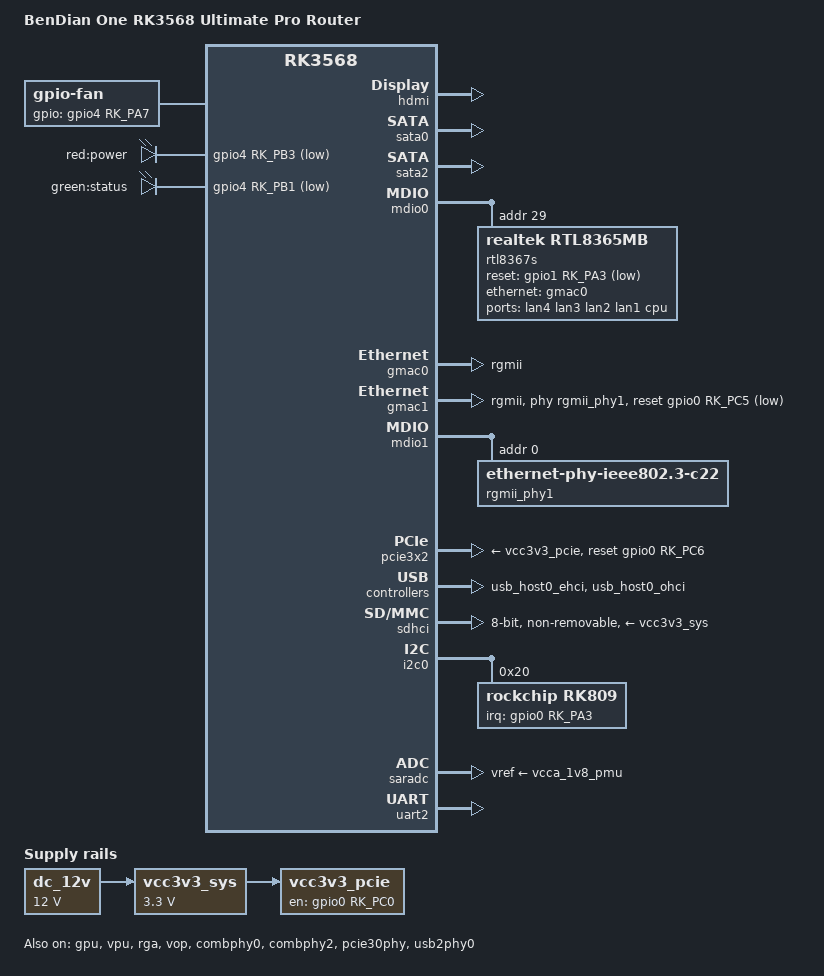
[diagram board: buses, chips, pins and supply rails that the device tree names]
// SPDX-License-Identifier: (GPL-2.0+ OR MIT)
/dts-v1/;

#include <dt-bindings/gpio/gpio.h>
#include <dt-bindings/pwm/pwm.h>
#include <dt-bindings/leds/common.h>
#include <dt-bindings/input/input.h>
#include <dt-bindings/soc/rockchip,vop2.h>
#include <dt-bindings/pinctrl/rockchip.h>
#include <dt-bindings/thermal/thermal.h>
#include "rk3568.dtsi"

/ {
	model = "BenDian One RK3568 Ultimate Pro Router";
	compatible = "bendian,bd-one", "rockchip,rk3568";

	aliases {
		ethernet0 = &gmac0;
		ethernet1 = &gmac1;
		mmc0 = &sdhci;
		serial2 = &uart2;
	};

	chosen {
		stdout-path = "serial2:1500000n8";
	};

	/* 【细节 1】补全 CPU OPP 调频表：确保主频能稳定切换至 1.99GHz */
	cpu0_opp_table: opp-table-0 {
		compatible = "operating-points-v2";
		opp-shared;
		opp-408000000  { opp-hz = /bits/ 64 <408000000>;  opp-microvolt = <825000>; };
		opp-600000000  { opp-hz = /bits/ 64 <600000000>;  opp-microvolt = <825000>; };
		opp-816000000  { opp-hz = /bits/ 64 <816000000>;  opp-microvolt = <825000>; };
		opp-1104000000 { opp-hz = /bits/ 64 <1104000000>; opp-microvolt = <825000>; };
		opp-1416000000 { opp-hz = /bits/ 64 <1416000000>; opp-microvolt = <900000>; };
		opp-1608000000 { opp-hz = /bits/ 64 <1608000000>; opp-microvolt = <1000000>; };
		opp-1800000000 { opp-hz = /bits/ 64 <1800000000>; opp-microvolt = <1100000>; };
		opp-1992000000 { opp-hz = /bits/ 64 <1992000000>; opp-microvolt = <1150000>; };
	};

	/* 【细节 2】补全 GPU OPP 调频表：满血 800MHz 性能释放 */
	gpu_opp_table: opp-table-1 {
		compatible = "operating-points-v2";
		opp-200000000 { opp-hz = /bits/ 64 <200000000>; opp-microvolt = <825000>; };
		opp-400000000 { opp-hz = /bits/ 64 <400000000>; opp-microvolt = <825000>; };
		opp-600000000 { opp-hz = /bits/ 64 <600000000>; opp-microvolt = <900000>; };
		opp-800000000 { opp-hz = /bits/ 64 <800000000>; opp-microvolt = <1000000>; };
	};

	/* FIQ 调试器：深度死机日志抓取 */
	fiq-debugger {
		compatible = "rockchip,fiq-debugger";
		rockchip,serial-id = <2>;
		rockchip,wake-irq = <0>;
		rockchip,irq-mode-enable = <1>;
		rockchip,baudrate = <1500000>;
		interrupts = <GIC_SPI 252 IRQ_TYPE_LEVEL_LOW>;
		pinctrl-names = "default";
		pinctrl-0 = <&uart2m0_xfer>;
		status = "okay";
	};

	/* 风扇控制 (GPIO4_A7) - 55 度温控触发 */
	fan: gpio-fan {
		compatible = "gpio-fan";
		gpios = <&gpio4 RK_PA7 GPIO_ACTIVE_HIGH>;
		gpio-fan,speed-map = <0 0>, <3000 1>;
		pinctrl-names = "default";
		pinctrl-0 = <&fan_pins>;
		#cooling-cells = <2>;
	};

	/* LED 适配：红色电源 (4_B3), 绿色状态 (4_B1) */
	leds {
		compatible = "gpio-leds";
		pinctrl-names = "default";
		pinctrl-0 = <&led_pins>;
		led_power: led-0 {
			label = "red:power";
			gpios = <&gpio4 RK_PB3 GPIO_ACTIVE_LOW>;
			default-state = "on";
		};
		led_status: led-1 {
			label = "green:status";
			gpios = <&gpio4 RK_PB1 GPIO_ACTIVE_LOW>;
			linux,default-trigger = "heartbeat";
		};
	};

	/* NVME (PCIe 3.0) 外部时钟芯片供电 (GPIO0_C0) */
	vcc3v3_pcie: vcc3v3-pcie {
		compatible = "regulator-fixed";
		regulator-name = "vcc3v3_pcie";
		enable-active-high;
		gpio = <&gpio0 RK_PC0 GPIO_ACTIVE_HIGH>;
		pinctrl-names = "default";
		pinctrl-0 = <&pcie30_pwr_pin>;
		regulator-boot-on;
		regulator-always-on;
		vin-supply = <&vcc3v3_sys>;
	};

	dc_12v: dc-12v {
		compatible = "regulator-fixed";
		regulator-always-on;
		regulator-min-microvolt = <12000000>;
		regulator-max-microvolt = <12000000>;
	};

	vcc3v3_sys: vcc3v3-sys {
		compatible = "regulator-fixed";
		regulator-always-on;
		vin-supply = <&dc_12v>;
		regulator-min-microvolt = <3300000>;
		regulator-max-microvolt = <3300000>;
	};
};

/* --- 【干货】IO 域电平声明：确保网口、eMMC 通讯不乱码 --- */
&pmu_io_domains {
	status = "okay";
	pmuio1-supply = <&vcc3v3_pmu>;
	pmuio2-supply = <&vcc3v3_pmu>;
	vccio1-supply = <&vcc_3v3>;
	vccio2-supply = <&vcc_1v8>; /* eMMC/网口 1.8V IO */
	vccio3-supply = <&vcc_3v3>;
	vccio4-supply = <&vcc_3v3>;
	vccio5-supply = <&vcc_3v3>;
	vccio6-supply = <&vcc_3v3>;
	vccio7-supply = <&vcc_3v3>;
};

/* --- 核心组件开启 --- */
&gpu {
	status = "okay";
	mali-supply = <&vdd_gpu>;
	operating-points-v2 = <&gpu_opp_table>;
};

&vpu { status = "okay"; };
&rga { status = "okay"; };

&hdmi {
	status = "okay";
	pinctrl-names = "default";
	pinctrl-0 = <&hdmitx_scl &hdmitx_sda &hdmitxm0_cec>;
};
&hdmi_in { status = "okay"; };
&vop { status = "okay"; };

/* --- SATA 控制器满血开启 --- */
&combphy0 { status = "okay"; };
&combphy2 { status = "okay"; };
&sata0 { status = "okay"; };
&sata2 { status = "okay"; };

/* --- 5口交换机 + 原机时序优化 --- */
&mdio0 {
	#address-cells = <1>;
	#size-cells = <0>;
	rtl8367s: switch@1d {
		compatible = "realtek,rtl8365mb"; 
		reg = <0x1d>;
		reset-gpios = <&gpio1 RK_PA3 GPIO_ACTIVE_LOW>;
		ports {
			#address-cells = <1>;
			#size-cells = <0>;
			port@0 { reg = <0>; label = "lan4"; };
			port@1 { reg = <1>; label = "lan3"; };
			port@2 { reg = <2>; label = "lan2"; };
			port@3 { reg = <3>; label = "lan1"; };
			port@7 {
				reg = <7>;
				label = "cpu";
				ethernet = <&gmac0>;
				phy-mode = "rgmii";
				fixed-link { speed = <1000>; full-duplex; };
			};
		};
	};
};

&gmac0 {
	status = "okay";
	phy-mode = "rgmii";
	tx_delay = <0x4f>;
	rx_delay = <0x0f>;
	pinctrl-names = "default";
	pinctrl-0 = <&gmac0_miim &gmac0_tx_bus2 &gmac0_rx_bus2 &gmac0_rgmii_clk &gmac0_rgmii_bus>;
};

&gmac1 {
	status = "okay";
	phy-mode = "rgmii";
	snps,reset-gpio = <&gpio0 RK_PC5 GPIO_ACTIVE_LOW>;
	tx_delay = <0x4f>;
	rx_delay = <0x26>;
	pinctrl-0 = <&gmac1m1_miim &gmac1m1_tx_bus2 &gmac1m1_rx_bus2 &gmac1m1_rgmii_clk &gmac1m1_rgmii_bus>;
	phy-handle = <&rgmii_phy1>;
};

&mdio1 {
	rgmii_phy1: phy@0 {
		compatible = "ethernet-phy-ieee802.3-c22";
		reg = <0x0>;
	};
};

/* --- PCIe 3.0 NVME 稳定性细节 --- */
&pcie3x2 {
	reset-gpios = <&gpio0 RK_PC6 GPIO_ACTIVE_HIGH>;
	vpcie3v3-supply = <&vcc3v3_pcie>;
	aspm-no-l0s; /* 关键：禁用 L0s 以防 NVME 随机掉盘 */
	status = "okay";
};

&pcie30phy {
	data-lanes = <1 2>;
	status = "okay";
};

/* --- USB 2.0 --- */
&usb_host0_ehci { status = "okay"; };
&usb_host0_ohci { status = "okay"; };
&usb2phy0 { status = "okay"; };

/* --- 存储 eMMC 优化 --- */
&sdhci {
	bus-width = <8>;
	max-frequency = <200000000>;
	supports-emmc;
	non-removable;
	mmc-hs200-1_8v;
	vmmc-supply = <&vcc3v3_sys>;
	status = "okay";
};

/* --- PMIC (RK809) 睡眠同步与 PWM 步进调优 --- */
&i2c0 {
	status = "okay";
	rk809: pmic@20 {
		compatible = "rockchip,rk809";
		reg = <0x20>;
		interrupt-parent = <&gpio0>;
		interrupts = <RK_PA3 IRQ_TYPE_LEVEL_LOW>;
		pinctrl-names = "default", "pmic-sleep", "pmic-reset";
		pinctrl-0 = <&pmic_int>;
		pinctrl-1 = <&soc_slppin_slp>;
		pinctrl-2 = <&soc_slppin_rst>;
		
		regulators {
			vdd_logic: DCDC_REG1 {
				regulator-ramp-delay = <6001>; /* 提高电压切换稳定性 */
				regulator-initial-mode = <2>;
				regulator-state-mem { regulator-off-in-suspend; };
			};
			vdd_gpu: DCDC_REG2 {
				regulator-ramp-delay = <6001>;
				regulator-state-mem { regulator-off-in-suspend; };
			};
		};
	};
};

/* --- 引脚细节 Pinctrl --- */
&pinctrl {
	leds {
		led_pins: led-pins {
			rockchip,pins = <4 RK_PB3 RK_FUNC_GPIO &pcfg_pull_none>,
			                <4 RK_PB1 RK_FUNC_GPIO &pcfg_pull_none>;
		};
	};
	fan {
		fan_pins: fan-pins {
			rockchip,pins = <4 RK_PA7 RK_FUNC_GPIO &pcfg_pull_none>;
		};
	};
	pcie {
		pcie30_pwr_pin: pcie30-pwr-pin {
			rockchip,pins = <0 RK_PC0 RK_FUNC_GPIO &pcfg_pull_none>;
		};
	};
	pmic {
		soc_slppin_slp: soc-slppin-slp {
			rockchip,pins = <0 RK_PA2 1 &pcfg_pull_none>;
		};
		soc_slppin_rst: soc-slppin-rst {
			rockchip,pins = <0 RK_PA2 2 &pcfg_pull_none>;
		};
	};
};

&saradc {
	status = "okay";
	vref-supply = <&vcca_1v8_pmu>; 
};

&cpu_thermal {
	trips {
		cpu_active: cpu-active {
			temperature = <55000>;
			hysteresis = <2000>;
			type = "active";
		};
	};
	cooling-maps {
		map1 {
			trip = <&cpu_active>;
			cooling-device = <&fan THERMAL_NO_LIMIT THERMAL_NO_LIMIT>;
		};
	};
};

&uart2 { status = "okay"; };
